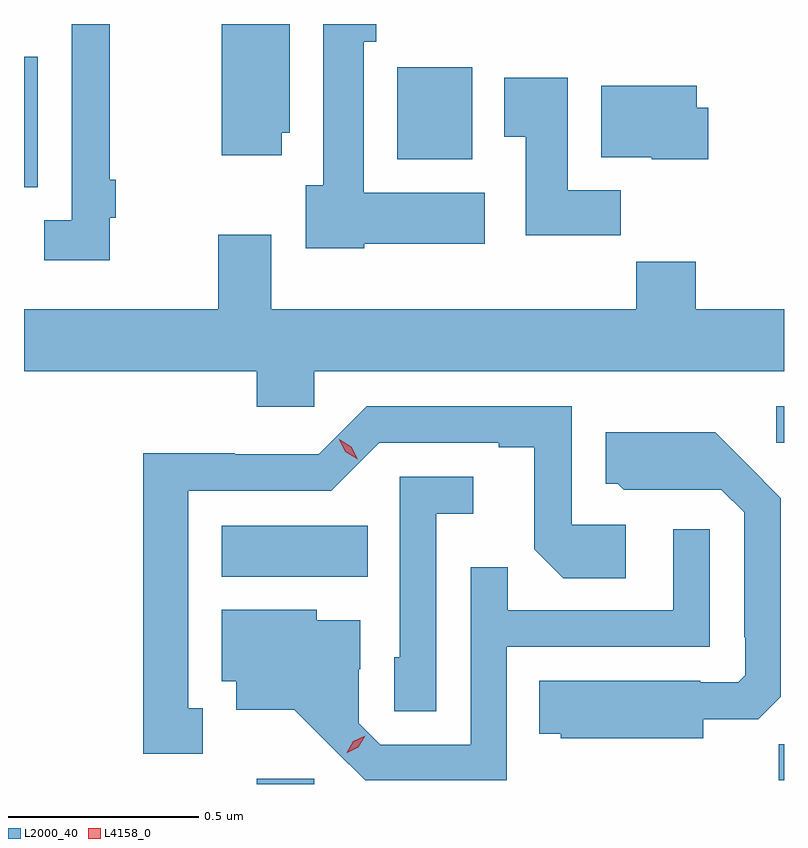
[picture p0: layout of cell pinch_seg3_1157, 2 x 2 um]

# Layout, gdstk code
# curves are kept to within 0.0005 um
import gdstk
lib = gdstk.Library(unit=1e-6, precision=1e-09)
def R(c, l, rs):  # rectangles x0, y0, x1, y1
    for r in rs: c.add(gdstk.rectangle(r[:2], r[2:], *l))
def P(c, l, *ps):  # polygons
    for p in ps: c.add(gdstk.Polygon(p, *l))
L2000_40 = (2000, 40)
L4158_0 = (4158, 0)

pinch_seg3_1157 = lib.new_cell('pinch_seg3_1157')
R(pinch_seg3_1157, L2000_40, [(324.167,690.506,324.318,690.52), (325.54,690.516,325.554,690.611), (324.074,691.052,324.458,691.186), (325.533,691.404,325.554,691.5), (323.554,692.077,323.59,692.42), (324.536,692.15,324.733,692.392)])
P(pinch_seg3_1157, L2000_40, [(324.45,691.928),(324.766,691.928),(324.766,692.062),(324.448,692.062),(324.448,692.459),(324.481,692.459),(324.481,692.506),(324.341,692.506),(324.341,692.082),(324.296,692.082),(324.296,691.916),(324.45,691.916)],
  [(323.78,691.996),(323.795,691.996),(323.795,692.096),(323.78,692.096),(323.78,692.506),(323.554,692.506),(323.554,692.505),(323.679,692.505),(323.679,691.989),(323.607,691.989),(323.607,691.884),(323.78,691.884)],
  [(324.232,692.22),(324.253,692.22),(324.253,692.506),(324.074,692.506),(324.074,692.16),(324.232,692.16)],
  [(325.124,692.068),(324.985,692.068),(324.985,692.365),(324.818,692.365),(324.818,692.209),(324.875,692.209),(324.875,691.95),(325.124,691.95)],
  [(325.355,692.286),(325.324,692.286),(325.324,692.344),(325.073,692.344),(325.073,692.156),(325.206,692.156),(325.206,692.15),(325.355,692.15)],
  [(324.318,691.592),(325.554,691.592),(325.554,691.756),(325.322,691.756),(325.322,691.88),(325.165,691.88),(325.165,691.756),(324.205,691.756),(324.205,691.951),(324.065,691.951),(324.065,691.756),(323.554,691.756),(323.554,691.592),(324.167,691.592),(324.167,691.499),(324.318,691.499)],
  [(324.025,690.705),(323.986,690.705),(323.986,691.278),(324.363,691.278),(324.489,691.404),(324.803,691.404),(324.803,691.392),(324.897,691.392),(324.897,691.124),(324.973,691.048),(325.138,691.048),(325.138,691.188),(324.996,691.188),(324.996,691.5),(324.456,691.5),(324.33,691.374),(324.108,691.374),(324.108,691.376),(323.868,691.376),(323.868,690.585),(324.025,690.585)],
  [(325.342,690.677),(325.486,690.677),(325.545,690.736),(325.545,691.258),(325.373,691.432),(325.085,691.432),(325.085,691.296),(325.116,691.296),(325.132,691.28),(325.266,691.28),(325.266,691.281),(325.389,691.281),(325.449,691.221),(325.449,690.892),(325.452,690.892),(325.452,690.792),(325.434,690.774),(325.334,690.774),(325.334,690.778),(324.91,690.778),(324.91,690.638),(324.966,690.638),(324.966,690.626),(325.342,690.626)],
  [(324.639,691.217),(324.736,691.217),(324.736,691.314),(324.543,691.314),(324.543,690.84),(324.528,690.84),(324.528,690.697),(324.639,690.697)],
  [(324.825,690.867),(325.359,690.867),(325.359,691.177),(325.263,691.177),(325.263,690.963),(324.827,690.963),(324.827,691.076),(324.729,691.076),(324.729,690.609),(324.492,690.609),(324.435,690.666),(324.435,690.808),(324.439,690.808),(324.439,690.937),(324.324,690.937),(324.324,690.964),(324.074,690.964),(324.074,690.777),(324.113,690.777),(324.113,690.701),(324.265,690.701),(324.452,690.516),(324.825,690.516)])
P(pinch_seg3_1157, L4158_0, [(324.403,690.588),(324.403,690.588),(324.421,690.618),(324.452,690.633),(324.452,690.633),(324.452,690.633),(324.434,690.603),(324.404,690.588)],
  [(324.432,691.361),(324.4,691.38),(324.383,691.413),(324.383,691.413),(324.383,691.413),(324.415,691.394),(324.432,691.361),(324.432,691.361)])

lib.write_gds('pinch_seg3_1157.gds')
